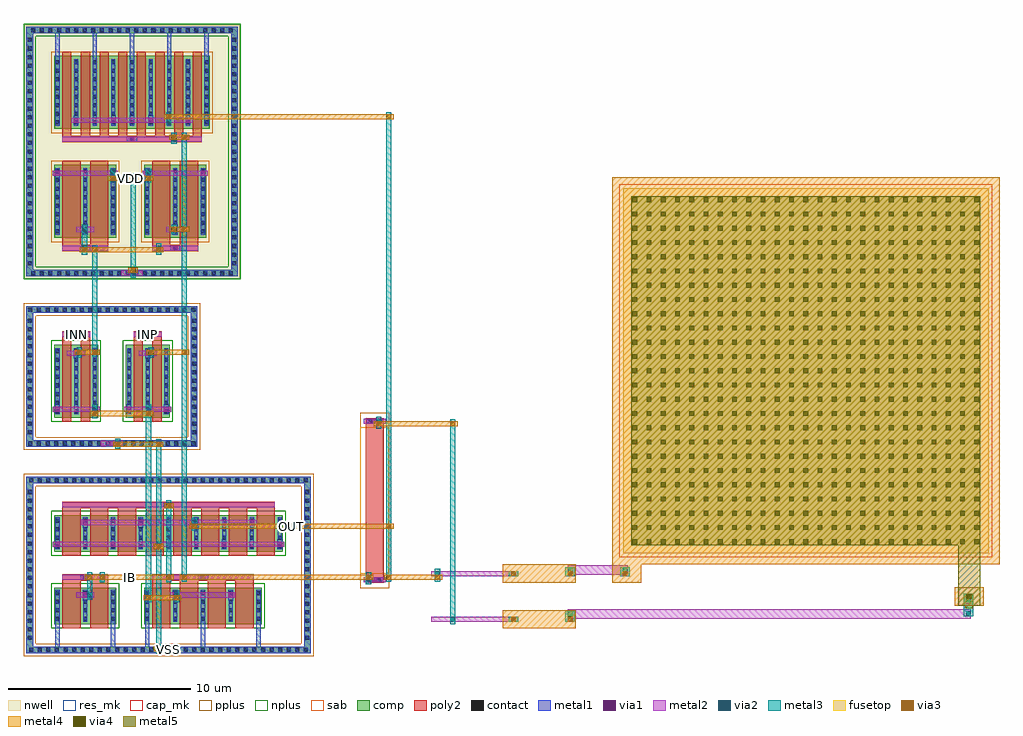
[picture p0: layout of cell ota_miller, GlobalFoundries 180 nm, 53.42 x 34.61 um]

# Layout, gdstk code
import gdstk
lib = gdstk.Library(unit=1e-6, precision=1e-09)
def R(c, l, rs):  # rectangles x0, y0, x1, y1
    for r in rs: c.add(gdstk.rectangle(r[:2], r[2:], *l))
def A(c, l, x, y, w, h, nx, ny, dx, dy):  # array of equal rectangles
    R(c, l, [(x+i*dx, y+j*dy, x+i*dx+w, y+j*dy+h) for i in range(nx) for j in range(ny)])
nwell = (21, 0)
comp = (22, 0)
poly2 = (30, 0)
pplus = (31, 0)
nplus = (32, 0)
contact = (33, 0)
metal1 = (34, 0)
via1 = (35, 0)
metal2 = (36, 0)
via2 = (38, 0)
via3 = (40, 0)
via4 = (41, 0)
metal3 = (42, 0)
metal4 = (46, 0)
sab = (49, 0)
fusetop = (75, 0)
metal5 = (81, 0)
res_mk = (110, 5)
cap_mk = (117, 5)

ota_miller = lib.new_cell('ota_miller')
R(ota_miller, nwell, [(-1.48,19.15,10.32,33.05)])
R(ota_miller, comp, [(-1.36,-1.36,14.2,-1), (-1.36,-1,-1,7.94), (13.84,-1,14.2,7.94), (0.16,0.23,3.56,2.23), (5.08,0.23,11.52,2.23), (0.16,4.2,12.68,6.2), (-1.36,7.94,14.2,8.3), (-1.36,9.94,8,10.3), (-1.36,10.3,-1,17.27), (7.64,10.3,8,17.27), (0.16,11.53,2.56,15.53), (4.08,11.53,6.48,15.53), (-1.36,17.27,8,17.63), (-1.36,19.27,10.2,19.63), (-1.36,19.63,-1,32.57), (9.84,19.63,10.2,32.57), (0.16,21.37,3.56,25.37), (5.08,21.37,8.48,25.37), (0.16,27.34,8.68,31.34), (-1.36,32.57,10.2,32.93)])
A(ota_miller, poly2, 5.52, 0.01, 1, 2.44, 4, 1, 1.52, 0)
A(ota_miller, poly2, 5.52, 0.01, 1, 2.78, 4, 1, 1.52, 0)
A(ota_miller, poly2, 0.6, 3.98, 1, 2.44, 8, 1, 1.52, 0)
A(ota_miller, poly2, 0.6, 3.98, 1, 2.78, 8, 1, 1.52, 0)
A(ota_miller, poly2, 0.6, 26.78, 0.5, 4.78, 8, 1, 1.02, 0)
A(ota_miller, poly2, 0.6, 27.12, 0.5, 4.44, 8, 1, 1.02, 0)
R(ota_miller, poly2, [(0.6,0.01,1.6,2.45), (0.6,0.01,1.6,2.79), (2.12,0.01,3.12,2.45), (2.12,0.01,3.12,2.79), (17.2,2.49,18.2,11.51), (0.6,2.61,3.12,2.97), (1.68,2.61,2.04,2.97), (5.52,2.61,11.08,2.97), (8.12,2.61,8.48,2.97), (0.6,6.58,12.24,6.94), (6.24,6.58,6.6,6.94), (0.6,11.31,1.1,15.75), (0.6,11.31,1.1,16.09), (1.62,11.31,2.12,15.75), (1.62,11.31,2.12,16.09), (4.52,11.31,5.02,15.75), (4.52,11.31,5.02,16.09), (5.54,11.31,6.04,15.75), (5.54,11.31,6.04,16.09), (0.6,15.91,2.12,16.27), (1.18,15.91,1.54,16.27), (4.52,15.91,6.04,16.27), (5.1,15.91,5.46,16.27), (0.6,20.63,3.12,20.99), (1.68,20.63,2.04,20.99), (5.52,20.63,8.04,20.99), (6.6,20.63,6.96,20.99), (0.6,20.81,1.6,25.59), (2.12,20.81,3.12,25.59), (5.52,20.81,6.52,25.59), (7.04,20.81,8.04,25.59), (0.6,21.15,1.6,25.59), (2.12,21.15,3.12,25.59), (5.52,21.15,6.52,25.59), (7.04,21.15,8.04,25.59), (0.6,26.6,8.24,26.96), (4.24,26.6,4.6,26.96)])
R(ota_miller, pplus, [(-1.52,-1.52,14.36,-0.84), (-1.52,-1.16,-0.84,8.1), (13.68,-1.16,14.36,8.1), (16.9,2.19,18.5,11.81), (-1.52,7.78,14.36,8.46), (-1.52,9.78,8.16,10.46), (-1.52,10.14,-0.84,17.43), (7.48,10.14,8.16,17.43), (-1.52,17.11,8.16,17.79), (0,21.14,3.72,25.6), (4.92,21.14,8.64,25.6), (0,27.11,8.84,31.57)])
R(ota_miller, nplus, [(0,0,3.72,2.46), (4.92,0,11.68,2.46), (0,3.97,12.84,6.43), (0,11.3,2.72,15.76), (3.92,11.3,6.64,15.76), (-1.52,19.11,10.36,19.79), (-1.52,19.47,-0.84,32.73), (9.68,19.47,10.36,32.73), (-1.52,32.41,10.36,33.09)])
A(ota_miller, contact, -1.21, -1.29, 0.22, 0.22, 33, 2, 0.47, 9.3)
A(ota_miller, contact, -1.29, -0.635, 0.22, 0.22, 1, 18, 0, 0.47)
A(ota_miller, contact, 13.91, -0.635, 0.22, 0.22, 1, 18, 0, 0.47)
A(ota_miller, contact, 0.23, 0.415, 0.22, 0.22, 3, 4, 1.52, 0.47)
A(ota_miller, contact, 5.15, 0.415, 0.22, 0.22, 5, 4, 1.52, 0.47)
A(ota_miller, contact, 0.23, 4.385, 0.22, 0.22, 9, 4, 1.52, 0.47)
A(ota_miller, contact, -1.255, 10.01, 0.22, 0.22, 20, 2, 0.47, 7.33)
A(ota_miller, contact, -1.29, 10.62, 0.22, 0.22, 1, 14, 0, 0.47)
A(ota_miller, contact, 7.71, 10.62, 0.22, 0.22, 1, 14, 0, 0.47)
A(ota_miller, contact, 0.23, 11.775, 0.22, 0.22, 3, 8, 1.02, 0.47)
A(ota_miller, contact, 4.15, 11.775, 0.22, 0.22, 3, 8, 1.02, 0.47)
A(ota_miller, contact, -1.095, 19.34, 0.22, 0.22, 24, 2, 0.47, 13.3)
A(ota_miller, contact, -1.29, 19.88, 0.22, 0.22, 1, 27, 0, 0.47)
A(ota_miller, contact, 9.91, 19.88, 0.22, 0.22, 1, 27, 0, 0.47)
A(ota_miller, contact, 0.23, 21.615, 0.22, 0.22, 3, 8, 1.52, 0.47)
A(ota_miller, contact, 5.15, 21.615, 0.22, 0.22, 3, 8, 1.52, 0.47)
A(ota_miller, contact, 0.23, 27.585, 0.22, 0.22, 9, 8, 1.02, 0.47)
R(ota_miller, contact, [(17.355,2.56,17.575,2.78), (17.825,2.56,18.045,2.78), (1.75,2.68,1.97,2.9), (8.19,2.68,8.41,2.9), (6.31,6.65,6.53,6.87), (17.355,11.22,17.575,11.44), (17.825,11.22,18.045,11.44), (1.25,15.98,1.47,16.2), (5.17,15.98,5.39,16.2), (1.75,20.7,1.97,20.92), (6.67,20.7,6.89,20.92), (4.31,26.67,4.53,26.89)])
A(ota_miller, metal1, 5.145, -1.1, 0.23, 1.455, 3, 1, 3.04, 0)
A(ota_miller, metal1, 0.225, 0.355, 0.23, 1.75, 3, 1, 1.52, 0)
A(ota_miller, metal1, 5.145, 0.355, 0.23, 1.75, 5, 1, 1.52, 0)
A(ota_miller, metal1, 0.21, 4.325, 0.26, 0.56, 5, 1, 3.04, 0)
A(ota_miller, metal1, 0.225, 4.325, 0.23, 1.75, 9, 1, 1.52, 0)
A(ota_miller, metal1, 1.73, 5.515, 0.26, 0.56, 4, 1, 3.04, 0)
A(ota_miller, metal1, 0.225, 11.715, 0.23, 3.63, 3, 1, 1.02, 0)
A(ota_miller, metal1, 4.145, 11.715, 0.23, 3.63, 3, 1, 1.02, 0)
A(ota_miller, metal1, 0.225, 21.555, 0.23, 3.63, 3, 1, 1.52, 0)
A(ota_miller, metal1, 5.145, 21.555, 0.23, 3.63, 3, 1, 1.52, 0)
A(ota_miller, metal1, 0.225, 27.525, 0.23, 3.63, 9, 1, 1.02, 0)
A(ota_miller, metal1, 1.23, 27.525, 0.26, 0.56, 4, 1, 2.04, 0)
A(ota_miller, metal1, 0.225, 31.155, 0.23, 1.515, 5, 1, 2.04, 0)
R(ota_miller, metal1, [(-1.36,-1.36,14.2,-1), (6.14,-1.31,6.7,-1.05), (0.225,-1.1,0.455,0.355), (3.265,-1.1,3.495,0.355), (-1.36,-1,-1,7.94), (13.84,-1,14.2,7.94), (1.73,1.545,1.99,2.105), (6.65,1.545,6.91,2.105), (9.69,1.545,9.95,2.105), (17.42,2.54,17.98,2.8), (17.295,2.555,18.105,2.785), (1.58,2.66,2.14,2.92), (8.02,2.66,8.58,2.92), (6.14,6.63,6.7,6.89), (-1.36,7.94,14.2,8.3), (-1.36,9.94,8,10.3), (3.04,9.99,3.6,10.25), (-1.36,10.3,-1,17.27), (7.64,10.3,8,17.27), (17.42,11.2,17.98,11.46), (17.295,11.215,18.105,11.445), (0.21,11.715,0.47,12.275), (2.25,11.715,2.51,12.275), (4.13,11.715,4.39,12.275), (6.17,11.715,6.43,12.275), (1.23,14.785,1.49,15.345), (5.15,14.785,5.41,15.345), (1.08,15.96,1.64,16.22), (5,15.96,5.56,16.22), (-1.36,17.27,8,17.63), (-1.36,19.27,10.2,19.63), (4.14,19.32,4.7,19.58), (-1.36,19.63,-1,32.57), (9.84,19.63,10.2,32.57), (1.58,20.68,2.14,20.94), (6.5,20.68,7.06,20.94), (1.73,21.555,1.99,22.115), (6.65,21.555,6.91,22.115), (0.21,24.625,0.47,25.185), (3.25,24.625,3.51,25.185), (5.13,24.625,5.39,25.185), (8.17,24.625,8.43,25.185), (4.14,26.65,4.7,26.91), (-1.36,32.57,10.2,32.93)])
A(ota_miller, via1, 0.21, 4.475, 0.26, 0.26, 5, 1, 3.04, 0)
A(ota_miller, via1, 1.73, 5.665, 0.26, 0.26, 4, 1, 3.04, 0)
A(ota_miller, via1, 1.23, 27.675, 0.26, 0.26, 4, 1, 2.04, 0)
R(ota_miller, via1, [(6.29,-1.31,6.55,-1.05), (1.73,1.695,1.99,1.955), (6.65,1.695,6.91,1.955), (9.69,1.695,9.95,1.955), (17.57,2.54,17.83,2.8), (1.73,2.66,1.99,2.92), (8.17,2.66,8.43,2.92), (6.29,6.63,6.55,6.89), (3.19,9.99,3.45,10.25), (17.57,11.2,17.83,11.46), (0.21,11.865,0.47,12.125), (2.25,11.865,2.51,12.125), (4.13,11.865,4.39,12.125), (6.17,11.865,6.43,12.125), (1.23,14.935,1.49,15.195), (5.15,14.935,5.41,15.195), (1.23,15.96,1.49,16.22), (5.15,15.96,5.41,16.22), (4.29,19.32,4.55,19.58), (1.73,20.68,1.99,20.94), (6.65,20.68,6.91,20.94), (1.73,21.705,1.99,21.965), (6.65,21.705,6.91,21.965), (0.21,24.775,0.47,25.035), (3.25,24.775,3.51,25.035), (5.13,24.775,5.39,25.035), (8.17,24.775,8.43,25.035), (4.29,26.65,4.55,26.91)])
A(ota_miller, metal2, 6.18, -1.32, 0.52, 0.28, 1, 3, 0, 3.97)
A(ota_miller, metal2, 6.16, 4.465, 0.52, 0.28, 3, 1, 3.04, 0)
A(ota_miller, metal2, 1.1, 27.665, 0.52, 0.28, 3, 1, 2.04, 0)
R(ota_miller, metal2, [(5.82,-1.32,7.02,-1.04), (6.16,-1.32,6.68,-1.04), (20.8,0.36,25.3,0.64), (20.8,0.36,23.3,0.64), (21.72,0.36,22.24,0.64), (25.04,0.36,25.56,0.64), (28.26,0.54,28.54,1.06), (28.4,0.54,50.2,1.06), (50.06,0.54,50.34,1.06), (50.06,1.34,50.34,1.86), (50.06,1.34,50.34,1.86), (1.36,1.685,2.36,1.965), (1.6,1.685,2.12,1.965), (1.84,1.685,2.36,1.965), (6.52,1.685,7.04,1.965), (6.52,1.685,10.08,1.965), (6.6,1.685,7.12,1.965), (9.56,1.685,10.08,1.965), (17.1,2.53,17.62,2.81), (17.1,2.53,18.3,2.81), (17.44,2.53,17.96,2.81), (0.6,2.65,3.12,2.93), (1.6,2.65,2.12,2.93), (2.54,2.65,3.06,2.93), (5.52,2.65,11.08,2.93), (8.04,2.65,8.56,2.93), (20.8,2.86,25.3,3.14), (20.8,2.86,23.3,3.14), (20.88,2.86,21.4,3.14), (25.04,2.86,25.56,3.14), (28.26,2.94,28.54,3.46), (28.4,2.94,31.4,3.46), (31.26,2.94,31.54,3.46), (31.26,2.94,31.54,3.46), (31.26,2.94,31.54,3.46), (0.08,4.465,0.6,4.745), (0.08,4.465,12.76,4.745), (3.12,4.465,3.64,4.745), (5.62,4.465,6.14,4.745), (1.6,5.655,2.12,5.935), (1.6,5.655,11.24,5.935), (4.64,5.655,5.16,5.935), (7.58,5.655,8.1,5.935), (7.68,5.655,8.2,5.935), (10.72,5.655,11.24,5.935), (0.6,6.62,12.24,6.9), (6.16,6.62,6.68,6.9), (2.72,9.98,3.92,10.26), (3.06,9.98,3.58,10.26), (3.38,9.98,3.9,10.26), (17.1,11.19,18.3,11.47), (17.44,11.19,17.96,11.47), (17.66,11.19,18.18,11.47), (0.08,11.855,0.6,12.135), (0.08,11.855,2.64,12.135), (2.12,11.855,2.64,12.135), (2.12,11.855,2.64,12.135), (4,11.855,4.52,12.135), (4,11.855,6.56,12.135), (5.06,11.855,5.58,12.135), (6.04,11.855,6.56,12.135), (0.86,14.925,1.86,15.205), (1.1,14.925,1.62,15.205), (1.28,14.925,1.8,15.205), (4.78,14.925,5.78,15.205), (5.02,14.925,5.54,15.205), (5.2,14.925,5.72,15.205), (0.6,15.95,2.12,16.23), (0.6,15.95,2.12,16.23), (1.1,15.95,1.62,16.23), (4.52,15.95,6.04,16.23), (4.52,15.95,6.04,16.23), (5.02,15.95,5.54,16.23), (3.82,19.31,5.02,19.59), (4.16,19.31,4.68,19.59), (4.22,19.31,4.74,19.59), (0.6,20.67,3.12,20.95), (1.56,20.67,2.08,20.95), (1.6,20.67,2.12,20.95), (5.52,20.67,8.04,20.95), (5.62,20.67,6.14,20.95), (6.52,20.67,7.04,20.95), (1.36,21.695,2.36,21.975), (1.56,21.695,2.08,21.975), (1.6,21.695,2.12,21.975), (6.28,21.695,7.28,21.975), (6.46,21.695,6.98,21.975), (6.52,21.695,7.04,21.975), (0.08,24.765,0.6,25.045), (0.08,24.765,3.64,25.045), (3.1,24.765,3.62,25.045), (3.12,24.765,3.64,25.045), (5,24.765,5.52,25.045), (5,24.765,8.56,25.045), (5.06,24.765,5.58,25.045), (8.04,24.765,8.56,25.045), (0.6,26.64,8.24,26.92), (4.16,26.64,4.68,26.92), (6.46,26.64,6.98,26.92), (1.1,27.665,7.74,27.945), (6.18,27.665,6.7,27.945), (7.22,27.665,7.74,27.945)])
A(ota_miller, via2, 6.31, -1.31, 0.26, 0.26, 1, 3, 0, 3.97)
R(ota_miller, via2, [(21.85,0.37,22.11,0.63), (25.17,0.37,25.43,0.63), (28.27,0.67,28.53,0.93), (50.07,0.67,50.33,0.93), (50.07,1.47,50.33,1.73), (50.07,1.47,50.33,1.73), (1.97,1.695,2.23,1.955), (6.73,1.695,6.99,1.955), (17.23,2.54,17.49,2.8), (2.67,2.66,2.93,2.92), (21.01,2.87,21.27,3.13), (25.17,2.87,25.43,3.13), (28.27,3.07,28.53,3.33), (31.27,3.07,31.53,3.33), (31.27,3.07,31.53,3.33), (31.27,3.07,31.53,3.33), (5.75,4.475,6.01,4.735), (7.71,5.665,7.97,5.925), (3.51,9.99,3.77,10.25), (17.79,11.2,18.05,11.46), (2.25,11.865,2.51,12.125), (5.19,11.865,5.45,12.125), (1.41,14.935,1.67,15.195), (5.33,14.935,5.59,15.195), (4.35,19.32,4.61,19.58), (1.69,20.68,1.95,20.94), (5.75,20.68,6.01,20.94), (1.69,21.705,1.95,21.965), (6.59,21.705,6.85,21.965), (3.23,24.775,3.49,25.035), (5.19,24.775,5.45,25.035), (6.59,26.65,6.85,26.91), (6.31,27.675,6.57,27.935)])
R(ota_miller, via3, [(5.75,-1.25,6.01,-0.99), (6.31,-1.25,6.57,-0.99), (25.17,0.37,25.43,0.63), (28.27,0.37,28.53,0.63), (5.19,1.55,5.45,1.81), (6.73,1.55,6.99,1.81), (50.07,1.62,50.33,1.88), (1.97,2.67,2.23,2.93), (2.67,2.67,2.93,2.93), (6.31,2.67,6.57,2.93), (6.31,2.67,6.57,2.93), (7.15,2.67,7.41,2.93), (17.23,2.67,17.49,2.93), (18.35,2.67,18.61,2.93), (21.01,2.67,21.27,2.93), (25.17,2.87,25.43,3.13), (28.27,2.87,28.53,3.13), (31.27,2.87,31.53,3.13), (5.75,4.35,6.01,4.61), (5.75,4.35,6.01,4.61), (7.71,5.47,7.97,5.73), (18.35,5.47,18.61,5.73), (6.31,6.59,6.57,6.85), (6.31,6.59,6.57,6.85), (3.51,9.95,3.77,10.21), (5.75,9.95,6.01,10.21), (17.79,11.07,18.05,11.33), (21.85,11.07,22.11,11.33), (2.25,11.63,2.51,11.89), (5.19,11.63,5.45,11.89), (5.19,11.63,5.45,11.89), (1.41,14.99,1.67,15.25), (2.25,14.99,2.51,15.25), (5.33,14.99,5.59,15.25), (7.15,14.99,7.41,15.25), (4.35,19.47,4.61,19.73), (4.35,19.47,4.61,19.73), (1.69,20.59,1.95,20.85), (1.69,20.59,1.95,20.85), (2.25,20.59,2.51,20.85), (5.75,20.59,6.01,20.85), (6.59,21.71,6.85,21.97), (7.15,21.71,7.41,21.97), (3.23,24.51,3.49,24.77), (4.35,24.51,4.61,24.77), (5.19,24.51,5.45,24.77), (6.59,26.75,6.85,27.01), (7.15,26.75,7.41,27.01), (6.31,27.87,6.57,28.13), (18.35,27.87,18.61,28.13)])
A(ota_miller, via4, 31.81, 4.61, 0.26, 0.26, 25, 25, 0.78, 0.78)
R(ota_miller, via4, [(50.12,1.62,50.38,1.88)])
R(ota_miller, metal3, [(6.3,-1.44,6.58,-0.92), (5.74,-1.38,6.02,-0.86), (6.3,-1.38,6.58,-0.86), (6.3,-1.18,6.58,-1.12), (5.74,-1.12,6.02,10.08), (21.84,0.24,22.12,0.76), (25.04,0.36,25.56,0.64), (28.14,0.36,28.66,0.64), (21.84,0.5,22.12,11.2), (28.14,0.5,28.66,0.8), (28.14,0.66,28.66,0.94), (49.94,0.66,50.46,0.94), (49.94,0.8,50.46,1.6), (5.18,1.42,5.46,1.94), (6.72,1.42,7,1.94), (49.94,1.46,50.46,1.74), (49.94,1.46,50.46,1.74), (1.96,1.565,2.24,2.085), (6.72,1.565,7,2.085), (49.94,1.6,50.46,1.75), (49.94,1.61,50.46,1.89), (5.18,1.68,5.46,11.76), (6.72,1.68,7,1.825), (1.96,1.825,2.24,2.8), (17.22,2.41,17.5,2.93), (2.66,2.53,2.94,3.05), (6.3,2.53,6.58,3.05), (1.96,2.54,2.24,3.06), (2.66,2.54,2.94,3.06), (6.3,2.54,6.58,3.06), (6.3,2.54,6.58,3.06), (7.14,2.54,7.42,3.06), (17.22,2.54,17.5,3.06), (18.34,2.54,18.62,3.06), (21,2.54,21.28,3.06), (17.22,2.67,17.5,2.8), (21,2.74,21.28,3.26), (2.66,2.79,2.94,2.8), (6.3,2.79,6.58,2.8), (6.3,2.8,6.58,6.72), (7.14,2.8,7.42,26.88), (18.34,2.8,18.62,28), (21,2.8,21.28,3), (25.04,2.86,25.56,3.14), (28.14,2.86,28.66,3.14), (31.14,2.86,31.66,3.14), (28.14,3,28.66,3.2), (31.14,3,31.66,3.2), (28.14,3.06,28.66,3.34), (31.14,3.06,31.66,3.34), (31.14,3.06,31.66,3.34), (31.14,3.06,31.66,3.34), (5.74,4.22,6.02,4.74), (5.74,4.22,6.02,4.74), (5.74,4.345,6.02,4.865), (5.74,4.48,6.02,4.605), (7.7,5.34,7.98,5.86), (18.34,5.34,18.62,5.86), (7.7,5.535,7.98,6.055), (7.7,5.6,7.98,5.795), (6.3,6.46,6.58,6.98), (6.3,6.46,6.58,6.98), (6.3,6.5,6.58,7.02), (6.3,6.72,6.58,6.76), (3.5,9.82,3.78,10.34), (5.74,9.82,6.02,10.34), (3.5,9.86,3.78,10.38), (3.5,10.08,3.78,10.12), (17.78,10.94,18.06,11.46), (21.84,10.94,22.12,11.46), (17.78,11.07,18.06,11.59), (17.78,11.2,18.06,11.33), (2.24,11.5,2.52,12.02), (5.18,11.5,5.46,12.02), (5.18,11.5,5.46,12.02), (2.24,11.735,2.52,12.255), (5.18,11.735,5.46,12.255), (2.24,11.76,2.52,11.995), (5.18,11.76,5.46,11.995), (1.4,14.805,1.68,15.325), (5.32,14.805,5.6,15.325), (1.4,14.86,1.68,15.38), (2.24,14.86,2.52,15.38), (5.32,14.86,5.6,15.38), (7.14,14.86,7.42,15.38), (1.4,15.065,1.68,15.12), (5.32,15.065,5.6,15.12), (2.24,15.12,2.52,20.72), (4.34,19.19,4.62,19.71), (4.34,19.34,4.62,19.86), (4.34,19.34,4.62,19.86), (4.34,19.45,4.62,19.6), (4.34,19.6,4.62,24.64), (1.68,20.46,1.96,20.98), (1.68,20.46,1.96,20.98), (2.24,20.46,2.52,20.98), (5.74,20.46,6.02,20.98), (1.68,20.55,1.96,21.07), (5.74,20.55,6.02,21.07), (1.68,20.72,1.96,20.81), (1.68,20.72,1.96,21.835), (5.74,20.72,6.02,20.81), (1.68,21.575,1.96,22.095), (6.58,21.575,6.86,22.095), (6.58,21.58,6.86,22.1), (7.14,21.58,7.42,22.1), (6.58,21.835,6.86,21.84), (3.22,24.38,3.5,24.9), (4.34,24.38,4.62,24.9), (5.18,24.38,5.46,24.9), (3.22,24.64,3.5,24.905), (5.18,24.64,5.46,24.905), (3.22,24.645,3.5,25.165), (5.18,24.645,5.46,25.165), (6.58,26.52,6.86,27.04), (6.58,26.62,6.86,27.14), (7.14,26.62,7.42,27.14), (6.58,26.78,6.86,26.88), (6.3,27.545,6.58,28.065), (6.3,27.74,6.58,28.26), (18.34,27.74,18.62,28.26), (6.3,27.805,6.58,28)])
R(ota_miller, metal4, [(5.62,-1.26,6.14,-0.98), (5.88,-1.26,6.44,-0.98), (6.18,-1.26,6.7,-0.98), (24.7,0,28.7,1), (26.3,0,28.7,1), (28.26,0.24,28.54,0.76), (25.04,0.36,25.56,0.64), (49.45,1.25,51.05,2.25), (50.06,1.49,50.34,2.01), (50.11,1.49,50.39,2.01), (5.06,1.54,5.58,1.82), (5.32,1.54,6.86,1.82), (6.6,1.54,7.12,1.82), (24.7,2.5,28.7,3.5), (26.3,2.5,28.7,3.5), (30.7,2.5,32.3,3.5), (1.84,2.66,2.36,2.94), (2.1,2.66,6.44,2.94), (2.54,2.66,3.06,2.94), (6.18,2.66,6.7,2.94), (6.18,2.66,6.7,2.94), (7.02,2.66,7.54,2.94), (7.28,2.66,17.36,2.94), (17.1,2.66,17.62,2.94), (18.22,2.66,18.74,2.94), (18.48,2.66,21.14,2.94), (20.88,2.66,21.4,2.94), (28.26,2.74,28.54,3.26), (31.26,2.74,31.54,3.26), (25.04,2.86,25.56,3.14), (30.7,3.5,51.9,24.7), (5.62,4.34,6.14,4.62), (5.62,4.34,6.14,4.62), (7.58,5.46,8.1,5.74), (7.84,5.46,18.48,5.74), (18.22,5.46,18.74,5.74), (6.18,6.58,6.7,6.86), (6.18,6.58,6.7,6.86), (3.38,9.94,3.9,10.22), (3.64,9.94,5.88,10.22), (5.62,9.94,6.14,10.22), (17.66,11.06,18.18,11.34), (17.92,11.06,21.98,11.34), (21.72,11.06,22.24,11.34), (2.12,11.62,2.64,11.9), (2.38,11.62,5.32,11.9), (5.06,11.62,5.58,11.9), (5.06,11.62,5.58,11.9), (1.28,14.98,1.8,15.26), (1.54,14.98,2.38,15.26), (2.12,14.98,2.64,15.26), (5.2,14.98,5.72,15.26), (5.46,14.98,7.28,15.26), (7.02,14.98,7.54,15.26), (4.22,19.46,4.74,19.74), (4.22,19.46,4.74,19.74), (1.56,20.58,2.08,20.86), (1.56,20.58,2.08,20.86), (1.82,20.58,5.88,20.86), (2.12,20.58,2.64,20.86), (5.62,20.58,6.14,20.86), (6.46,21.7,6.98,21.98), (6.72,21.7,7.28,21.98), (7.02,21.7,7.54,21.98), (3.1,24.5,3.62,24.78), (3.36,24.5,5.32,24.78), (4.22,24.5,4.74,24.78), (5.06,24.5,5.58,24.78), (6.46,26.74,6.98,27.02), (6.72,26.74,7.28,27.02), (7.02,26.74,7.54,27.02), (6.18,27.86,6.7,28.14), (6.44,27.86,18.48,28.14), (18.22,27.86,18.74,28.14)])
R(ota_miller, sab, [(16.92,3,18.48,11)])
R(ota_miller, fusetop, [(31.3,4.1,51.3,24.1)])
R(ota_miller, metal5, [(50.03,1.11,50.47,2.39), (49.65,1.25,50.85,5.05), (31.75,4.55,50.85,23.65)])
R(ota_miller, res_mk, [(17.2,3,18.2,11)])
R(ota_miller, cap_mk, [(31.1,3.9,51.5,24.3)])
ota_miller.add(gdstk.Label('INP', (5.28,16.09), layer=36, texttype=10))
ota_miller.add(gdstk.Label('INN', (1.36,16.09), layer=36, texttype=10))
ota_miller.add(gdstk.Label('VSS', (6.42,-1.18), layer=36, texttype=10))
ota_miller.add(gdstk.Label('OUT', (13.16,5.6), layer=46, texttype=10))
ota_miller.add(gdstk.Label('IB', (4.27,2.8), layer=46, texttype=10))
ota_miller.add(gdstk.Label('VDD', (4.34,24.64), layer=46, texttype=10))

lib.write_gds('ota_miller.gds')
